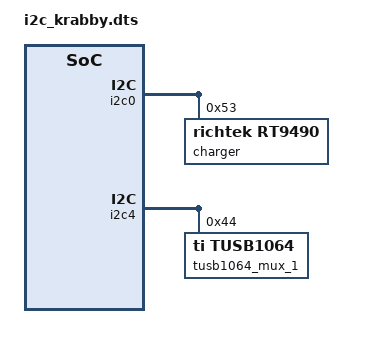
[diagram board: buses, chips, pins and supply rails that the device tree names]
/* Copyright 2021 The ChromiumOS Authors
 * Use of this source code is governed by a BSD-style license that can be
 * found in the LICENSE file.
 */

#include "i2c_krabby_tentacruel.dtsi"

&i2c0 {
	charger: rt9490@53 {
		compatible = "richtek,rt9490";
		status = "okay";
		reg = <0x53>;
	};
};

&i2c4 {
	tusb1064_mux_1: tusb1064-mux-1@44 {
		compatible = "ti,tusb1064";
		reg = <0x44>;
	};
};
